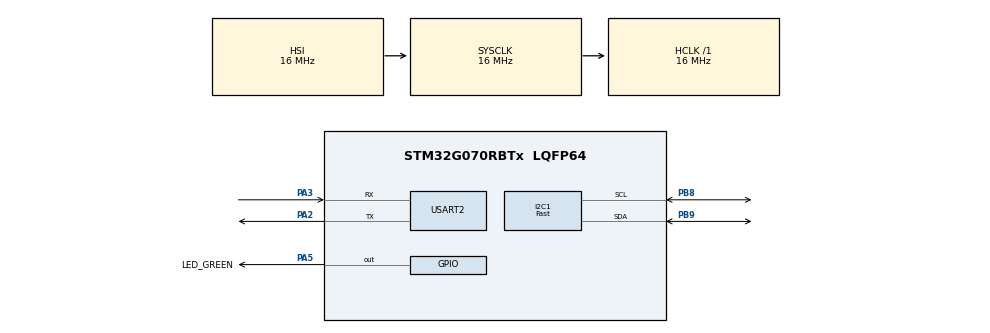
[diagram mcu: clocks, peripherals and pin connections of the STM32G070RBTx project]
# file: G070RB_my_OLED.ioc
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I2C1.I2C_Speed_Mode=I2C_Fast
I2C1.Timing=0x0010061A
Mcu.Family=STM32G0
Mcu.Name=STM32G070RBTx
Mcu.Package=LQFP64
PA13.GPIO_Label=TMS
PA13.Mode=Serial_Wire
PA13.Signal=SYS_SWDIO
PA14-BOOT0.GPIO_Label=TCK
PA14-BOOT0.Mode=Serial_Wire
PA14-BOOT0.Signal=SYS_SWCLK
PA2.GPIO_PuPd=GPIO_PULLUP
PA2.Mode=Asynchronous
PA2.Signal=USART2_TX
PA3.GPIO_PuPd=GPIO_PULLUP
PA3.Mode=Asynchronous
PA3.Signal=USART2_RX
PA5.GPIO_Label=LED_GREEN
PA5.GPIO_Speed=GPIO_SPEED_FREQ_HIGH
PA5.Signal=GPIO_Output
PB8.Mode=I2C
PB8.Signal=I2C1_SCL
PB9.Mode=I2C
PB9.Signal=I2C1_SDA
PC13.Mode=SYS_WakeUp1
PC13.Signal=SYS_WKUP2
PC14-OSC32_IN\ (PC14).Mode=LSE-External-Oscillator
PC14-OSC32_IN\ (PC14).Signal=RCC_OSC32_IN
PC15-OSC32_OUT\ (PC15).Mode=LSE-External-Oscillator
PC15-OSC32_OUT\ (PC15).Signal=RCC_OSC32_OUT
PF0-OSC_IN\ (PF0).GPIO_Label=MCO
PF0-OSC_IN\ (PF0).Mode=HSE-External-Clock-Source
PF0-OSC_IN\ (PF0).Signal=RCC_OSC_IN
ProjectManager.HeapSize=0x200
ProjectManager.StackSize=0x400
ProjectManager.TargetToolchain=STM32CubeIDE
RCC.AHBFreq_Value=16000000
RCC.CortexFreq_Value=16000000
RCC.EXTERNAL_CLOCK_VALUE=12288000
RCC.HCLKFreq_Value=16000000
RCC.HSE_VALUE=8000000
RCC.HSI_VALUE=16000000
RCC.SYSCLKFreq_VALUE=16000000
RCC.VCOOutputFreq_Value=128000000
USART2.VirtualMode-Asynchronous=VM_ASYNC
USART2.WordLength=WORDLENGTH_7B
board=NUCLEO-G070RB

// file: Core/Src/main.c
/* USER CODE BEGIN Header */
/**
  ******************************************************************************
  * @file           : main.c
  * @brief          : Main program body
  ******************************************************************************
  * @attention
  *
  * Copyright (c) 2023 STMicroelectronics.
  * All rights reserved.
  *
  * This software is licensed under terms that can be found in the LICENSE file
  * in the root directory of this software component.
  * If no LICENSE file comes with this software, it is provided AS-IS.
  *
  ******************************************************************************
  */
/* USER CODE END Header */
#include "main.h"

/* USER CODE BEGIN Includes */
#include <stdio.h>
#include "my_SSD1306.h"

/* USER CODE END Includes */

I2C_HandleTypeDef hi2c1;

UART_HandleTypeDef huart2;

void SystemClock_Config(void);
static void MX_GPIO_Init(void);
static void MX_USART2_UART_Init(void);
static void MX_I2C1_Init(void);

int main(void)
{
  /* USER CODE BEGIN 1 */
    setbuf(stdout, NULL);
  /* USER CODE END 1 */

  /* MCU Configuration--------------------------------------------------------*/

  /* Reset of all peripherals, Initializes the Flash interface and the Systick. */
  HAL_Init();

  /* Configure the system clock */
  SystemClock_Config();

  /* Initialize all configured peripherals */
  MX_GPIO_Init();
  MX_USART2_UART_Init();
  MX_I2C1_Init();
  /* USER CODE BEGIN 2 */
	OLED_Init(&hi2c1);

	/* USER CODE END 2 */

  /* Infinite loop */
  while (1)
  {

    /* USER CODE BEGIN 3 */

		// text demo

		OLED_clear(); // and set cursor to 0,0
		//      12345678901234
		printf("Boot nucleo\n");
		printf("  G070RB");

		HAL_Delay(3000);

		// start bar data demo

		OLED_clear(); // and set cursor to 0,0
		OLED_set_cursor(0, 2);
		printf(" BAR demo");

		uint8_t my_data_8[128];
		uint8_t my_data_0[128];

		for (uint8_t t=0; t<3; t++) {

			for (uint8_t c=0; c<128; c++) {

				// prepare bar

				for (uint16_t i=0; i<128; i++) {
					if (i<c) {
						my_data_0[i] = 0b00111111;
						my_data_8[i] = 0b11111100;

					} else {
						my_data_0[i] = 0;
						my_data_8[i] = 0;
					}
				}

				// transfer data

				OLED_set_cursor(0, 0);
				OLED_put_len((uint8_t *)&my_data_8, 128);

				OLED_set_cursor(0, 1);
				OLED_put_len((uint8_t *)&my_data_0, 128);

			}
		}

		HAL_Delay(2000);

  }
  /* USER CODE END 3 */
}

void SystemClock_Config(void)
{
  RCC_OscInitTypeDef RCC_OscInitStruct = {0};
  RCC_ClkInitTypeDef RCC_ClkInitStruct = {0};

  /** Configure the main internal regulator output voltage
  */
  HAL_PWREx_ControlVoltageScaling(PWR_REGULATOR_VOLTAGE_SCALE1);

  /** Initializes the RCC Oscillators according to the specified parameters
  * in the RCC_OscInitTypeDef structure.
  */
  RCC_OscInitStruct.OscillatorType = RCC_OSCILLATORTYPE_HSI;
  RCC_OscInitStruct.HSIState = RCC_HSI_ON;
  RCC_OscInitStruct.HSIDiv = RCC_HSI_DIV1;
  RCC_OscInitStruct.HSICalibrationValue = RCC_HSICALIBRATION_DEFAULT;
  RCC_OscInitStruct.PLL.PLLState = RCC_PLL_NONE;
  if (HAL_RCC_OscConfig(&RCC_OscInitStruct) != HAL_OK)
  {
    Error_Handler();
  }

  /** Initializes the CPU, AHB and APB buses clocks
  */
  RCC_ClkInitStruct.ClockType = RCC_CLOCKTYPE_HCLK|RCC_CLOCKTYPE_SYSCLK
                              |RCC_CLOCKTYPE_PCLK1;
  RCC_ClkInitStruct.SYSCLKSource = RCC_SYSCLKSOURCE_HSI;
  RCC_ClkInitStruct.AHBCLKDivider = RCC_SYSCLK_DIV1;
  RCC_ClkInitStruct.APB1CLKDivider = RCC_HCLK_DIV1;

  if (HAL_RCC_ClockConfig(&RCC_ClkInitStruct, FLASH_LATENCY_0) != HAL_OK)
  {
    Error_Handler();
  }
}

static void MX_I2C1_Init(void)
{

  hi2c1.Instance = I2C1;
  hi2c1.Init.Timing = 0x0010061A;
  hi2c1.Init.OwnAddress1 = 0;
  hi2c1.Init.AddressingMode = I2C_ADDRESSINGMODE_7BIT;
  hi2c1.Init.DualAddressMode = I2C_DUALADDRESS_DISABLE;
  hi2c1.Init.OwnAddress2 = 0;
  hi2c1.Init.OwnAddress2Masks = I2C_OA2_NOMASK;
  hi2c1.Init.GeneralCallMode = I2C_GENERALCALL_DISABLE;
  hi2c1.Init.NoStretchMode = I2C_NOSTRETCH_DISABLE;
  if (HAL_I2C_Init(&hi2c1) != HAL_OK)
  {
    Error_Handler();
  }

  /** Configure Analogue filter
  */
  if (HAL_I2CEx_ConfigAnalogFilter(&hi2c1, I2C_ANALOGFILTER_ENABLE) != HAL_OK)
  {
    Error_Handler();
  }

  /** Configure Digital filter
  */
  if (HAL_I2CEx_ConfigDigitalFilter(&hi2c1, 0) != HAL_OK)
  {
    Error_Handler();
  }

}

static void MX_USART2_UART_Init(void)
{

  huart2.Instance = USART2;
  huart2.Init.BaudRate = 115200;
  huart2.Init.WordLength = UART_WORDLENGTH_7B;
  huart2.Init.StopBits = UART_STOPBITS_1;
  huart2.Init.Parity = UART_PARITY_NONE;
  huart2.Init.Mode = UART_MODE_TX_RX;
  huart2.Init.HwFlowCtl = UART_HWCONTROL_NONE;
  huart2.Init.OverSampling = UART_OVERSAMPLING_16;
  huart2.Init.OneBitSampling = UART_ONE_BIT_SAMPLE_DISABLE;
  huart2.Init.ClockPrescaler = UART_PRESCALER_DIV1;
  huart2.AdvancedInit.AdvFeatureInit = UART_ADVFEATURE_NO_INIT;
  if (HAL_UART_Init(&huart2) != HAL_OK)
  {
    Error_Handler();
  }
  if (HAL_UARTEx_SetTxFifoThreshold(&huart2, UART_TXFIFO_THRESHOLD_1_8) != HAL_OK)
  {
    Error_Handler();
  }
  if (HAL_UARTEx_SetRxFifoThreshold(&huart2, UART_RXFIFO_THRESHOLD_1_8) != HAL_OK)
  {
    Error_Handler();
  }
  if (HAL_UARTEx_DisableFifoMode(&huart2) != HAL_OK)
  {
    Error_Handler();
  }

}

static void MX_GPIO_Init(void)
{
  GPIO_InitTypeDef GPIO_InitStruct = {0};

  /* GPIO Ports Clock Enable */
  __HAL_RCC_GPIOC_CLK_ENABLE();
  __HAL_RCC_GPIOF_CLK_ENABLE();
  __HAL_RCC_GPIOA_CLK_ENABLE();
  __HAL_RCC_GPIOB_CLK_ENABLE();

  /*Configure GPIO pin Output Level */
  HAL_GPIO_WritePin(LED_GREEN_GPIO_Port, LED_GREEN_Pin, GPIO_PIN_RESET);

  /*Configure GPIO pin : LED_GREEN_Pin */
  GPIO_InitStruct.Pin = LED_GREEN_Pin;
  GPIO_InitStruct.Mode = GPIO_MODE_OUTPUT_PP;
  GPIO_InitStruct.Pull = GPIO_NOPULL;
  GPIO_InitStruct.Speed = GPIO_SPEED_FREQ_HIGH;
  HAL_GPIO_Init(LED_GREEN_GPIO_Port, &GPIO_InitStruct);

}

/* USER CODE BEGIN 4 */

// printf from
// https://yukblog.net/stm32cubeide-printf-uart/

int _write(int file, char *ptr, int len)
{
  //HAL_UART_Transmit(&huart2,(uint8_t *)ptr,len,10);
	for (int i=0; i<len; i++) {
		OLED_put_c(ptr[i]);
	}
  return len;
}

/* USER CODE END 4 */

void Error_Handler(void)
{
  __disable_irq();
  while (1)
  {
  }
}
